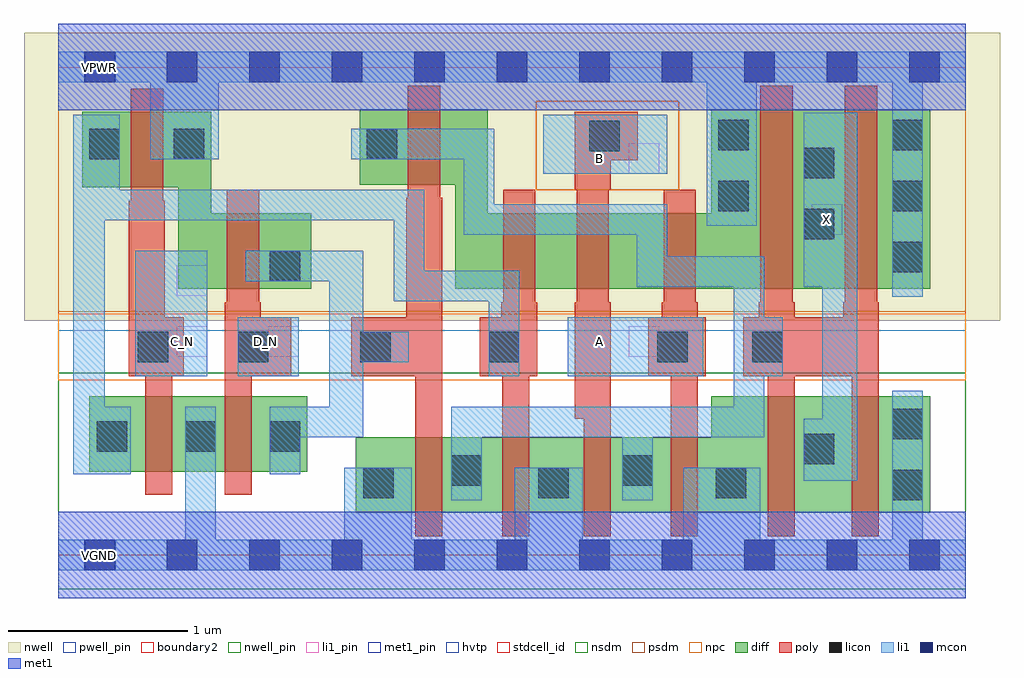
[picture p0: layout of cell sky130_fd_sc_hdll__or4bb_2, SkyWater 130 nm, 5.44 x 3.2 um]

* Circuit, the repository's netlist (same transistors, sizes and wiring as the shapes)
* Copyright 2020 The SkyWater PDK Authors
*
* Licensed under the Apache License, Version 2.0 (the "License");
* you may not use this file except in compliance with the License.
* You may obtain a copy of the License at
*
*     https://www.apache.org/licenses/LICENSE-2.0
*
* Unless required by applicable law or agreed to in writing, software
* distributed under the License is distributed on an "AS IS" BASIS,
* WITHOUT WARRANTIES OR CONDITIONS OF ANY KIND, either express or implied.
* See the License for the specific language governing permissions and
* limitations under the License.
*
* SPDX-License-Identifier: Apache-2.0

.SUBCKT sky130_fd_sc_hdll__or4bb_2 A B C_N D_N VGND VNB VPB VPWR X
*.PININFO A:I B:I C_N:I D_N:I VGND:I VNB:I VPB:I VPWR:I X:O
MMP0 VPWR A sndPA VPB sky130_fd_pr__pfet_01v8_hvt m=1 w=0.42U l=0.18U mult=1 sa=0.265
+ sb=0.265 sd=0.28 area=0.063 perim=1.14
MMP1 sndPA B sndPB VPB sky130_fd_pr__pfet_01v8_hvt m=1 w=0.42U l=0.18U mult=1 sa=0.265
+ sb=0.265 sd=0.28 area=0.063 perim=1.14
MMP2 sndPB C sndPC VPB sky130_fd_pr__pfet_01v8_hvt m=1 w=0.42U l=0.18U mult=1 sa=0.265
+ sb=0.265 sd=0.28 area=0.063 perim=1.14
MMP3 sndPC D y VPB sky130_fd_pr__pfet_01v8_hvt m=1 w=0.42U l=0.18U mult=1 sa=0.265
+ sb=0.265 sd=0.28 area=0.063 perim=1.14
MMIP2 C C_N VPWR VPB sky130_fd_pr__pfet_01v8_hvt m=1 w=0.42U l=0.18U mult=1 sa=0.265
+ sb=0.265 sd=0.28 area=0.063 perim=1.14
MMIP3 D D_N VPWR VPB sky130_fd_pr__pfet_01v8_hvt m=1 w=0.42U l=0.18U mult=1 sa=0.265
+ sb=0.265 sd=0.28 area=0.063 perim=1.14
MMIP4 X y VPWR VPB sky130_fd_pr__pfet_01v8_hvt m=2 w=1.0U l=0.18U mult=1 sa=0.265
+ sb=0.265 sd=0.28 area=0.063 perim=1.14
MMN0 y A VGND VNB sky130_fd_pr__nfet_01v8 m=1 w=0.42U l=0.15U mult=1 sa=0.265 sb=0.265
+ sd=0.28 area=0.063 perim=1.14
MMN1 y B VGND VNB sky130_fd_pr__nfet_01v8 m=1 w=0.42U l=0.15U mult=1 sa=0.265 sb=0.265
+ sd=0.28 area=0.063 perim=1.14
MMN2 y C VGND VNB sky130_fd_pr__nfet_01v8 m=1 w=0.42U l=0.15U mult=1 sa=0.265 sb=0.265
+ sd=0.28 area=0.063 perim=1.14
MMN3 y D VGND VNB sky130_fd_pr__nfet_01v8 m=1 w=0.42U l=0.15U mult=1 sa=0.265 sb=0.265
+ sd=0.28 area=0.063 perim=1.14
MMIN2 C C_N VGND VNB sky130_fd_pr__nfet_01v8 m=1 w=0.42U l=0.15U mult=1 sa=0.265
+ sb=0.265 sd=0.28 area=0.063 perim=1.14
MMIN3 D D_N VGND VNB sky130_fd_pr__nfet_01v8 m=1 w=0.42U l=0.15U mult=1 sa=0.265
+ sb=0.265 sd=0.28 area=0.063 perim=1.14
MMIN4 X y VGND VNB sky130_fd_pr__nfet_01v8 m=2 w=0.65U l=0.15U mult=1 sa=0.265
+ sb=0.265 sd=0.28 area=0.063 perim=1.14
.ENDS sky130_fd_sc_hdll__or4bb_2

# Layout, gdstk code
import gdstk
lib = gdstk.Library(unit=1e-6, precision=1e-09)
def R(c, l, rs):  # rectangles x0, y0, x1, y1
    for r in rs: c.add(gdstk.rectangle(r[:2], r[2:], *l))
def A(c, l, x, y, w, h, nx, ny, dx, dy):  # array of equal rectangles
    R(c, l, [(x+i*dx, y+j*dy, x+i*dx+w, y+j*dy+h) for i in range(nx) for j in range(ny)])
def P(c, l, *ps):  # polygons
    for p in ps: c.add(gdstk.Polygon(p, *l))
nwell_pin = (64, 16)
nwell = (64, 20)
diff = (65, 20)
poly = (66, 20)
licon = (66, 44)
li1_pin = (67, 16)
li1 = (67, 20)
mcon = (67, 44)
met1_pin = (68, 16)
met1 = (68, 20)
hvtp = (78, 44)
stdcell_id = (81, 4)
nsdm = (93, 44)
psdm = (94, 20)
npc = (95, 20)
pwell_pin = (122, 16)
boundary2 = (236, 0)

sky130_fd_sc_hdll__or4bb = lib.new_cell('sky130_fd_sc_hdll__or4bb_2')
R(sky130_fd_sc_hdll__or4bb, nwell_pin, [(0.15,2.635,0.32,2.805)])
R(sky130_fd_sc_hdll__or4bb, nwell, [(-0.19,1.305,5.25,2.91)])
R(sky130_fd_sc_hdll__or4bb, diff, [(0.175,0.465,1.39,0.885)])
P(sky130_fd_sc_hdll__or4bb, diff, [(1.41,1.905),(0.855,1.905),(0.855,2.47),(0.135,2.47),(0.135,2.05),(0.67,2.05),(0.67,1.485),(1.41,1.485)],
  [(4.86,2.485),(3.64,2.485),(3.64,1.905),(2.395,1.905),(2.395,2.485),(1.68,2.485),(1.68,2.065),(2.215,2.065),(2.215,1.485),(4.86,1.485)],
  [(4.86,0.885),(3.64,0.885),(3.64,0.655),(1.66,0.655),(1.66,0.235),(4.86,0.235)])
P(sky130_fd_sc_hdll__or4bb, poly, [(0.7,1.325),(0.595,1.325),(0.595,1.975),(0.585,1.975),(0.585,2.6),(0.405,2.6),(0.405,1.975),(0.395,1.975),(0.395,0.995),(0.485,0.995),(0.485,0.335),(0.635,0.335),(0.635,0.995),(0.7,0.995)],
  [(1.3,1.325),(1.13,1.325),(1.13,1.41),(1.12,1.41),(1.12,2.035),(0.94,2.035),(0.94,1.41),(0.93,1.41),(0.93,0.335),(1.08,0.335),(1.08,0.995),(1.3,0.995)],
  [(2.14,1.99),(2.13,1.99),(2.13,2.615),(1.95,2.615),(1.95,1.99),(1.94,1.99),(1.94,1.325),(1.635,1.325),(1.635,0.995),(1.99,0.995),(1.99,0.105),(2.14,0.105)],
  [(2.67,1.41),(2.66,1.41),(2.66,2.035),(2.48,2.035),(2.48,1.41),(2.47,1.41),(2.47,1.325),(2.35,1.325),(2.35,0.995),(2.475,0.995),(2.475,0.105),(2.625,0.105),(2.625,0.995),(2.67,0.995)],
  [(3.23,2.47),(2.88,2.47),(2.88,2.035),(2.89,2.035),(2.89,1.41),(2.88,1.41),(2.88,0.76),(2.93,0.76),(2.93,0.105),(3.08,0.105),(3.08,1.41),(3.07,1.41),(3.07,2.035),(3.08,2.035),(3.08,2.2),(3.23,2.2)],
  [(3.61,1.325),(3.565,1.325),(3.565,1.41),(3.555,1.41),(3.555,2.035),(3.375,2.035),(3.375,1.41),(3.365,1.41),(3.365,1.325),(3.29,1.325),(3.29,0.995),(3.415,0.995),(3.415,0.105),(3.565,0.105),(3.565,0.995),(3.61,0.995)],
  [(4.575,1.41),(4.565,1.41),(4.565,2.615),(4.385,2.615),(4.385,1.41),(4.375,1.41),(4.375,1.325),(4.105,1.325),(4.105,1.41),(4.095,1.41),(4.095,2.615),(3.915,2.615),(3.915,1.41),(3.905,1.41),(3.905,1.325),(3.82,1.325),(3.82,0.995),(3.955,0.995),(3.955,0.105),(4.105,0.105),(4.105,0.995),(4.425,0.995),(4.425,0.105),(4.575,0.105)])
A(sky130_fd_sc_hdll__or4bb, licon, 4.65, 1.575, 0.17, 0.17, 1, 3, 0, 0.34)
R(sky130_fd_sc_hdll__or4bb, licon, [(4.65,0.305,4.82,0.475), (1.7,0.315,1.87,0.485), (2.675,0.315,2.845,0.485), (3.665,0.315,3.835,0.485), (2.19,0.385,2.36,0.555), (3.145,0.385,3.315,0.555), (4.155,0.505,4.325,0.675), (0.215,0.575,0.385,0.745), (0.71,0.575,0.88,0.745), (1.18,0.575,1.35,0.745), (4.65,0.645,4.82,0.815), (0.445,1.075,0.615,1.245), (1,1.075,1.17,1.245), (1.685,1.075,1.855,1.245), (2.4,1.075,2.57,1.245), (3.34,1.075,3.51,1.245), (3.87,1.075,4.04,1.245), (1.18,1.525,1.35,1.695), (4.155,1.76,4.325,1.93), (3.68,1.915,3.85,2.085), (4.155,2.1,4.325,2.27), (0.175,2.205,0.345,2.375), (0.645,2.205,0.815,2.375), (1.72,2.205,1.89,2.375), (2.96,2.25,3.13,2.42), (3.68,2.255,3.85,2.425)])
R(sky130_fd_sc_hdll__or4bb, li1_pin, [(0.66,1.105,0.83,1.275), (1.17,1.105,1.34,1.275), (3.18,1.105,3.35,1.275), (0.66,1.445,0.83,1.615), (4.2,1.785,4.37,1.955), (3.18,2.125,3.35,2.295)])
R(sky130_fd_sc_hdll__or4bb, li1, [(0.43,0.995,0.83,1.695), (1,0.995,1.34,1.325), (2.84,0.995,3.595,1.325), (2.705,2.125,3.395,2.455)])
P(sky130_fd_sc_hdll__or4bb, li1, [(5.06,0.085),(4.82,0.085),(4.82,0.915),(4.65,0.915),(4.65,0.085),(3.915,0.085),(3.915,0.485),(3.485,0.485),(3.485,0.085),(2.925,0.085),(2.925,0.485),(2.545,0.485),(2.545,0.085),(1.97,0.085),(1.97,0.485),(1.595,0.485),(1.595,0.085),(0.88,0.085),(0.88,0.825),(0.71,0.825),(0.71,0.085),(0,0.085),(0,-0.085),(5.06,-0.085)],
  [(5.06,2.805),(0,2.805),(0,2.635),(0.515,2.635),(0.515,2.205),(0.895,2.205),(0.895,2.635),(3.615,2.635),(3.615,1.835),(3.895,1.835),(3.895,2.635),(4.65,2.635),(4.65,1.44),(4.82,1.44),(4.82,2.635),(5.06,2.635)],
  [(1.955,1.245),(1.7,1.245),(1.7,1.695),(1.045,1.695),(1.045,1.525),(1.51,1.525),(1.51,0.825),(1.18,0.825),(1.18,0.45),(1.35,0.45),(1.35,0.655),(1.7,0.655),(1.7,1.075),(1.955,1.075)],
  [(2.57,1.585),(2.04,1.585),(2.04,2.035),(0.345,2.035),(0.345,2.455),(0.085,2.455),(0.085,0.45),(0.405,0.45),(0.405,0.825),(0.26,0.825),(0.26,1.865),(1.87,1.865),(1.87,1.415),(2.4,1.415),(2.4,0.995),(2.57,0.995)],
  [(4.04,1.325),(3.935,1.325),(3.935,1.665),(3.395,1.665),(3.395,1.955),(2.43,1.955),(2.43,2.375),(1.635,2.375),(1.635,2.205),(2.26,2.205),(2.26,1.785),(3.225,1.785),(3.225,1.495),(3.765,1.495),(3.765,0.825),(2.19,0.825),(2.19,0.305),(2.36,0.305),(2.36,0.655),(3.145,0.655),(3.145,0.305),(3.315,0.305),(3.315,0.655),(3.935,0.655),(3.935,0.995),(4.04,0.995)],
  [(4.455,2.465),(4.155,2.465),(4.155,1.495),(4.26,1.495),(4.26,0.76),(4.155,0.76),(4.155,0.415),(4.455,0.415)])
A(sky130_fd_sc_hdll__or4bb, mcon, 0.145, -0.085, 0.17, 0.17, 11, 2, 0.46, 2.72)
R(sky130_fd_sc_hdll__or4bb, met1_pin, [(0.15,-0.085,0.32,0.085), (0.15,2.635,0.32,2.805)])
R(sky130_fd_sc_hdll__or4bb, met1, [(0,-0.24,5.06,0.24), (0,2.48,5.06,2.96)])
R(sky130_fd_sc_hdll__or4bb, hvtp, [(0,1.25,5.06,2.72)])
R(sky130_fd_sc_hdll__or4bb, stdcell_id, [(0,0,5.06,2.72)])
R(sky130_fd_sc_hdll__or4bb, nsdm, [(0,-0.19,5.06,1.015)])
P(sky130_fd_sc_hdll__or4bb, psdm, [(5.06,2.91),(3.46,2.91),(3.46,2.035),(2.665,2.035),(2.665,2.53),(3.46,2.53),(3.46,2.91),(0,2.91),(0,1.355),(5.06,1.355)])
R(sky130_fd_sc_hdll__or4bb, npc, [(0,0.975,5.06,1.345), (2.665,2.035,3.46,2.53)])
R(sky130_fd_sc_hdll__or4bb, pwell_pin, [(0.15,-0.085,0.32,0.085)])
R(sky130_fd_sc_hdll__or4bb, boundary2, [(0,0,5.06,2.72)])
sky130_fd_sc_hdll__or4bb.add(gdstk.Label('A', (3.015,1.19), layer=67, texttype=5))
sky130_fd_sc_hdll__or4bb.add(gdstk.Label('X', (4.285,1.87), layer=67, texttype=5))
sky130_fd_sc_hdll__or4bb.add(gdstk.Label('B', (3.015,2.21), layer=67, texttype=5))
sky130_fd_sc_hdll__or4bb.add(gdstk.Label('D_N', (1.155,1.19), layer=67, texttype=5))
sky130_fd_sc_hdll__or4bb.add(gdstk.Label('C_N', (0.695,1.19), layer=67, texttype=5))
sky130_fd_sc_hdll__or4bb.add(gdstk.Label('VPWR', (0.23,2.72), layer=68, texttype=5))
sky130_fd_sc_hdll__or4bb.add(gdstk.Label('VGND', (0.23,0), layer=68, texttype=5))
sky130_fd_sc_hdll__or4bb.add(gdstk.Label('VPB', (0.235,2.72), layer=64, texttype=5))
sky130_fd_sc_hdll__or4bb.add(gdstk.Label('VNB', (0.235,0), layer=64, texttype=59))
sky130_fd_sc_hdll__or4bb.add(gdstk.Label('or4bb_2', (0,0), layer=83, texttype=44))

lib.write_gds('sky130_fd_sc_hdll__or4bb_2.gds')
